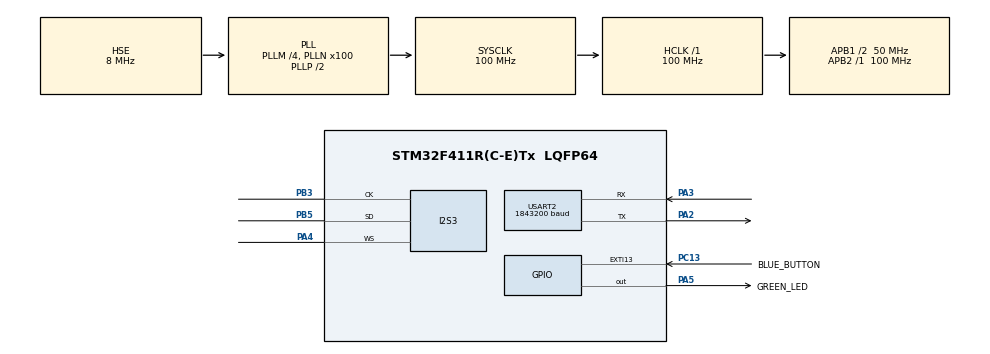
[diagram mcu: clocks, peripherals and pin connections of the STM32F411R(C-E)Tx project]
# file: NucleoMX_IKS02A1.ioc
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Dma.Request0=USART2_TX
Dma.Request1=SPI3_RX
Dma.SPI3_RX.1.Direction=DMA_PERIPH_TO_MEMORY
Dma.SPI3_RX.1.FIFOMode=DMA_FIFOMODE_DISABLE
Dma.SPI3_RX.1.Instance=DMA1_Stream0
Dma.SPI3_RX.1.MemDataAlignment=DMA_MDATAALIGN_HALFWORD
Dma.SPI3_RX.1.MemInc=DMA_MINC_ENABLE
Dma.SPI3_RX.1.Mode=DMA_CIRCULAR
Dma.SPI3_RX.1.PeriphDataAlignment=DMA_PDATAALIGN_HALFWORD
Dma.SPI3_RX.1.PeriphInc=DMA_PINC_DISABLE
Dma.SPI3_RX.1.Priority=DMA_PRIORITY_LOW
Dma.USART2_TX.0.Direction=DMA_MEMORY_TO_PERIPH
Dma.USART2_TX.0.FIFOMode=DMA_FIFOMODE_DISABLE
Dma.USART2_TX.0.Instance=DMA1_Stream6
Dma.USART2_TX.0.MemDataAlignment=DMA_MDATAALIGN_BYTE
Dma.USART2_TX.0.MemInc=DMA_MINC_ENABLE
Dma.USART2_TX.0.Mode=DMA_NORMAL
Dma.USART2_TX.0.PeriphDataAlignment=DMA_PDATAALIGN_BYTE
Dma.USART2_TX.0.PeriphInc=DMA_PINC_DISABLE
Dma.USART2_TX.0.Priority=DMA_PRIORITY_LOW
I2S3.AudioFreq=I2S_AUDIOFREQ_48K
I2S3.CPOL=I2S_CPOL_HIGH
I2S3.DataFormat=I2S_DATAFORMAT_24B
I2S3.ErrorAudioFreq=-0.79 %
I2S3.FullDuplexMode=I2S_FULLDUPLEXMODE_DISABLE
I2S3.Instance=SPI$Index
I2S3.Mode=I2S_MODE_MASTER_RX
I2S3.RealAudioFreq=47.619 KHz
I2S3.Standard=I2S_STANDARD_MSB
I2S3.VirtualMode=I2S_MODE_MASTER
Mcu.Family=STM32F4
Mcu.Name=STM32F411R(C-E)Tx
Mcu.Package=LQFP64
NVIC.DMA1_Stream0_IRQn=true\:0\:0\:false\:false\:true\:false\:true\:true
NVIC.DMA1_Stream6_IRQn=true\:0\:0\:false\:false\:true\:false\:true\:true
NVIC.EXTI15_10_IRQn=true\:0\:0\:false\:false\:true\:true\:true\:true
NVIC.PriorityGroup=NVIC_PRIORITYGROUP_2
NVIC.TIM1_UP_TIM10_IRQn=true\:3\:0\:false\:false\:true\:false\:true\:true
NVIC.TIM2_IRQn=true\:0\:0\:false\:false\:true\:true\:true\:true
NVIC.TimeBase=TIM1_UP_TIM10_IRQn
NVIC.TimeBaseIP=TIM1
NVIC.USART2_IRQn=true\:0\:0\:false\:false\:true\:true\:true\:true
PA13.GPIO_Label=TMS
PA13.Mode=Serial_Wire
PA13.Signal=SYS_JTMS-SWDIO
PA14.GPIO_Label=TCK
PA14.Mode=Serial_Wire
PA14.Signal=SYS_JTCK-SWCLK
PA2.GPIO_Speed=GPIO_SPEED_FREQ_VERY_HIGH
PA2.Mode=Asynchronous
PA2.Signal=USART2_TX
PA3.GPIO_Speed=GPIO_SPEED_FREQ_VERY_HIGH
PA3.Mode=Asynchronous
PA3.Signal=USART2_RX
PA4.Mode=Half_Duplex_Master
PA4.Signal=I2S3_WS
PA5.GPIO_Label=GREEN_LED
PA5.Signal=GPIO_Output
PB3.GPIO_PuPd=GPIO_PULLUP
PB3.GPIO_Speed=GPIO_SPEED_FREQ_VERY_HIGH
PB3.Mode=Half_Duplex_Master
PB3.Signal=I2S3_CK
PB5.GPIO_PuPd=GPIO_PULLUP
PB5.GPIO_Speed=GPIO_SPEED_FREQ_VERY_HIGH
PB5.Mode=Half_Duplex_Master
PB5.Signal=I2S3_SD
PC13-ANTI_TAMP.GPIO_Label=BLUE_BUTTON
PC13-ANTI_TAMP.Signal=GPXTI13
PC14-OSC32_IN.Mode=LSE-External-Oscillator
PC14-OSC32_IN.Signal=RCC_OSC32_IN
PC15-OSC32_OUT.Mode=LSE-External-Oscillator
PC15-OSC32_OUT.Signal=RCC_OSC32_OUT
PDM2PCM.CHANNEL1_bit_order=PDM_FILTER_BIT_ORDER_MSB
PDM2PCM.CHANNEL1_decimation_factor=PDM_FILTER_DEC_FACTOR_64
PDM2PCM.CHANNEL1_endianness=PDM_FILTER_ENDIANNESS_BE
PDM2PCM.CHANNEL1_high_pass_tap=2122358088
PDM2PCM.CHANNEL1_in_ptr_channels=1
PDM2PCM.CHANNEL1_mic_gain=24
PDM2PCM.CHANNEL1_out_ptr_channels=1
PDM2PCM.CHANNEL1_output_samples_number=16
PH0\ -\ OSC_IN.Mode=HSE-External-Clock-Source
PH0\ -\ OSC_IN.Signal=RCC_OSC_IN
PH1\ -\ OSC_OUT.Mode=HSE-External-Clock-Source
PH1\ -\ OSC_OUT.Signal=RCC_OSC_OUT
ProjectManager.HeapSize=0x200
ProjectManager.StackSize=0x400
ProjectManager.TargetToolchain=Makefile
RCC.48MHZClocksFreq_Value=50000000
RCC.AHBFreq_Value=100000000
RCC.APB1CLKDivider=RCC_HCLK_DIV2
RCC.APB1Freq_Value=50000000
RCC.APB1TimFreq_Value=100000000
RCC.APB2Freq_Value=100000000
RCC.APB2TimFreq_Value=100000000
RCC.CortexFreq_Value=100000000
RCC.EXTERNAL_CLOCK_VALUE=2000000
RCC.FLatency-AdvancedSettings=FLASH_LATENCY_3
RCC.HCLKFreq_Value=100000000
RCC.HSE_VALUE=8000000
RCC.HSI_VALUE=16000000
RCC.PLLI2SM=4
RCC.PLLM=4
RCC.PLLN=100
RCC.PLLSourceVirtual=RCC_PLLSOURCE_HSE
RCC.RCC_MCO1Source=RCC_MCO1SOURCE_HSE
RCC.RCC_MCODiv1=RCC_MCODIV_4
RCC.SYSCLKFreq_VALUE=100000000
RCC.SYSCLKSource=RCC_SYSCLKSOURCE_PLLCLK
RCC.VCOOutputFreq_Value=200000000
TIM2.AutoReloadPreload=TIM_AUTORELOAD_PRELOAD_ENABLE
TIM2.Period=1000-1
TIM2.Prescaler=1000-1
USART2.BaudRate=1843200
USART2.Mode=MODE_TX
USART2.Parity=PARITY_EVEN
USART2.StopBits=STOPBITS_2
USART2.VirtualMode=VM_ASYNC
USART2.WordLength=WORDLENGTH_9B
VP_CRC_VS_CRC.Mode=CRC_Activate
VP_PDM2PCM_VS_PDM2PCM.Mode=PDM2PCM_Channel
VP_SYS_VS_tim1.Mode=TIM1
VP_TIM2_VS_ClockSourceINT.Mode=Internal
board=NUCLEO-F411RE

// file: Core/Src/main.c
/* USER CODE BEGIN Header */
/**
  ******************************************************************************
  * @file           : main.c
  * @brief          : Main program body
  ******************************************************************************
  * @attention
  *
  * Copyright (c) 2024 STMicroelectronics.
  * All rights reserved.
  *
  * This software is licensed under terms that can be found in the LICENSE file
  * in the root directory of this software component.
  * If no LICENSE file comes with this software, it is provided AS-IS.
  *
  ******************************************************************************
  */
/* USER CODE END Header */
#include "main.h"
#include "pdm2pcm.h"

/* USER CODE BEGIN Includes */
#include "IKS02A1_Simulink.h"
/* USER CODE END Includes */

CRC_HandleTypeDef hcrc;

I2S_HandleTypeDef hi2s3;
DMA_HandleTypeDef hdma_spi3_rx;

TIM_HandleTypeDef htim2;

UART_HandleTypeDef huart2;
DMA_HandleTypeDef hdma_usart2_tx;

/* USER CODE BEGIN PV */
uint16_t pcm_buffer_len;
/* USER CODE END PV */

void SystemClock_Config(void);
/* USER CODE BEGIN PFP */
// #define PUTCHAR_PROTOTYPE int __io_putchar(int ch)
/* USER CODE END PFP */

/* USER CODE BEGIN 0 */
const uint8_t expectedHeader[3] = {'J', '_', 'A'};
const uint8_t expectedTerminator[3] = {'A', '_', 'J'};

uint8_t bigBuffer[28+3+3] = {0};
uint8_t clearToSend = 0;
uint8_t counter = 0;

/* Buffers */
#define PDM_BUFFER_SIZE 64
#define PCM_BUFFER_SIZE 16
uint32_t pdm_buffer[PDM_BUFFER_SIZE]; // Buffer for raw PDM data
uint16_t pcm_buffer[PCM_BUFFER_SIZE]; // Buffer for processed PCM data

void HAL_I2S_RxCpltCallback(I2S_HandleTypeDef *hi2s) {
    if (hi2s == &hi2s3) {
      HAL_GPIO_TogglePin(GREEN_LED_GPIO_Port,GREEN_LED_Pin);
      PDM_Filter((uint8_t *)pdm_buffer, (int16_t *)pcm_buffer, &PDM1_filter_handler);
      clearToSend = 1;
    }
}

/* Transmit PCM Data over USART */
void Transmit_PCM_Data(uint16_t *pcm_data, uint16_t size)
{
  HAL_UART_Transmit(&huart2, (uint8_t *)pcm_data, size * sizeof(uint16_t), HAL_MAX_DELAY);
}

/* USER CODE END 0 */

int main(void)
{

  /* MCU Configuration--------------------------------------------------------*/

  /* Reset of all peripherals, Initializes the Flash interface and the Systick. */
  HAL_Init();

  /* Configure the system clock */
  SystemClock_Config();

  /* USER CODE BEGIN SysInit */
  HAL_GPIO_WritePin(GREEN_LED_GPIO_Port,GREEN_LED_Pin,0);
  /* USER CODE END SysInit */

  /* Initialize all configured peripherals */
  MX_GPIO_Init();
  MX_DMA_Init();
  MX_TIM2_Init();
  MX_USART2_UART_Init();
  MX_CRC_Init();
  MX_PDM2PCM_Init();
  MX_I2S3_Init();

  /* Infinite loop */
  /* USER CODE BEGIN WHILE */
  HAL_I2S_Receive_DMA(&hi2s3, pdm_buffer, sizeof(pdm_buffer)/sizeof(pdm_buffer[0]));
  while (1)
  {
    if (clearToSend == 1){
      counter++;
      if (counter == 50){
        // startAudioPacket();
        counter = 0;
      }
      Transmit_PCM_Data(pcm_buffer, PCM_BUFFER_SIZE);
      clearToSend = 0;
    }

    /* USER CODE END WHILE */

  }
}

void SystemClock_Config(void)
{
  RCC_OscInitTypeDef RCC_OscInitStruct = {0};
  RCC_ClkInitTypeDef RCC_ClkInitStruct = {0};

  /** Configure the main internal regulator output voltage
  */
  __HAL_RCC_PWR_CLK_ENABLE();
  __HAL_PWR_VOLTAGESCALING_CONFIG(PWR_REGULATOR_VOLTAGE_SCALE1);

  /** Initializes the RCC Oscillators according to the specified parameters
  * in the RCC_OscInitTypeDef structure.
  */
  RCC_OscInitStruct.OscillatorType = RCC_OSCILLATORTYPE_HSE;
  RCC_OscInitStruct.HSEState = RCC_HSE_BYPASS;
  RCC_OscInitStruct.PLL.PLLState = RCC_PLL_ON;
  RCC_OscInitStruct.PLL.PLLSource = RCC_PLLSOURCE_HSE;
  RCC_OscInitStruct.PLL.PLLM = 4;
  RCC_OscInitStruct.PLL.PLLN = 100;
  RCC_OscInitStruct.PLL.PLLP = RCC_PLLP_DIV2;
  RCC_OscInitStruct.PLL.PLLQ = 4;
  if (HAL_RCC_OscConfig(&RCC_OscInitStruct) != HAL_OK)
  {
    Error_Handler();
  }

  /** Initializes the CPU, AHB and APB buses clocks
  */
  RCC_ClkInitStruct.ClockType = RCC_CLOCKTYPE_HCLK|RCC_CLOCKTYPE_SYSCLK
                              |RCC_CLOCKTYPE_PCLK1|RCC_CLOCKTYPE_PCLK2;
  RCC_ClkInitStruct.SYSCLKSource = RCC_SYSCLKSOURCE_PLLCLK;
  RCC_ClkInitStruct.AHBCLKDivider = RCC_SYSCLK_DIV1;
  RCC_ClkInitStruct.APB1CLKDivider = RCC_HCLK_DIV2;
  RCC_ClkInitStruct.APB2CLKDivider = RCC_HCLK_DIV1;

  if (HAL_RCC_ClockConfig(&RCC_ClkInitStruct, FLASH_LATENCY_3) != HAL_OK)
  {
    Error_Handler();
  }
}

void MX_CRC_Init(void)
{

  hcrc.Instance = CRC;
  if (HAL_CRC_Init(&hcrc) != HAL_OK)
  {
    Error_Handler();
  }
  __HAL_CRC_DR_RESET(&hcrc);

}

void MX_I2S3_Init(void)
{

  hi2s3.Instance = SPI3;
  hi2s3.Init.Mode = I2S_MODE_MASTER_RX;
  hi2s3.Init.Standard = I2S_STANDARD_PHILLIPS;
  hi2s3.Init.DataFormat = I2S_DATAFORMAT_24B;
  hi2s3.Init.MCLKOutput = I2S_MCLKOUTPUT_DISABLE;
  hi2s3.Init.AudioFreq = I2S_AUDIOFREQ_48K;
  hi2s3.Init.CPOL = I2S_CPOL_LOW;
  hi2s3.Init.ClockSource = I2S_CLOCK_PLL;
  hi2s3.Init.FullDuplexMode = I2S_FULLDUPLEXMODE_DISABLE;
  if (HAL_I2S_Init(&hi2s3) != HAL_OK)
  {
    Error_Handler();
  }

}

void MX_TIM2_Init(void)
{

  TIM_ClockConfigTypeDef sClockSourceConfig = {0};
  TIM_MasterConfigTypeDef sMasterConfig = {0};

  htim2.Instance = TIM2;
  htim2.Init.Prescaler = 1000-1;
  htim2.Init.CounterMode = TIM_COUNTERMODE_UP;
  htim2.Init.Period = 1000-1;
  htim2.Init.ClockDivision = TIM_CLOCKDIVISION_DIV1;
  htim2.Init.AutoReloadPreload = TIM_AUTORELOAD_PRELOAD_ENABLE;
  if (HAL_TIM_Base_Init(&htim2) != HAL_OK)
  {
    Error_Handler();
  }
  sClockSourceConfig.ClockSource = TIM_CLOCKSOURCE_INTERNAL;
  if (HAL_TIM_ConfigClockSource(&htim2, &sClockSourceConfig) != HAL_OK)
  {
    Error_Handler();
  }
  sMasterConfig.MasterOutputTrigger = TIM_TRGO_RESET;
  sMasterConfig.MasterSlaveMode = TIM_MASTERSLAVEMODE_DISABLE;
  if (HAL_TIMEx_MasterConfigSynchronization(&htim2, &sMasterConfig) != HAL_OK)
  {
    Error_Handler();
  }

}

void MX_USART2_UART_Init(void)
{

  huart2.Instance = USART2;
  huart2.Init.BaudRate = 1843200;
  huart2.Init.WordLength = UART_WORDLENGTH_9B;
  huart2.Init.StopBits = UART_STOPBITS_2;
  huart2.Init.Parity = UART_PARITY_EVEN;
  huart2.Init.Mode = UART_MODE_TX;
  huart2.Init.HwFlowCtl = UART_HWCONTROL_NONE;
  huart2.Init.OverSampling = UART_OVERSAMPLING_16;
  if (HAL_UART_Init(&huart2) != HAL_OK)
  {
    Error_Handler();
  }

}

void MX_DMA_Init(void)
{

  /* DMA controller clock enable */
  __HAL_RCC_DMA1_CLK_ENABLE();

  /* DMA interrupt init */
  /* DMA1_Stream0_IRQn interrupt configuration */
  HAL_NVIC_SetPriority(DMA1_Stream0_IRQn, 0, 0);
  HAL_NVIC_EnableIRQ(DMA1_Stream0_IRQn);
  /* DMA1_Stream6_IRQn interrupt configuration */
  HAL_NVIC_SetPriority(DMA1_Stream6_IRQn, 0, 0);
  HAL_NVIC_EnableIRQ(DMA1_Stream6_IRQn);

}

void MX_GPIO_Init(void)
{
  GPIO_InitTypeDef GPIO_InitStruct = {0};

  /* GPIO Ports Clock Enable */
  __HAL_RCC_GPIOC_CLK_ENABLE();
  __HAL_RCC_GPIOH_CLK_ENABLE();
  __HAL_RCC_GPIOA_CLK_ENABLE();
  __HAL_RCC_GPIOB_CLK_ENABLE();
  __HAL_RCC_GPIOD_CLK_ENABLE();

  /*Configure GPIO pin Output Level */
  HAL_GPIO_WritePin(GREEN_LED_GPIO_Port, GREEN_LED_Pin, GPIO_PIN_RESET);

  /*Configure GPIO pin : BLUE_BUTTON_Pin */
  GPIO_InitStruct.Pin = BLUE_BUTTON_Pin;
  GPIO_InitStruct.Mode = GPIO_MODE_IT_RISING;
  GPIO_InitStruct.Pull = GPIO_NOPULL;
  HAL_GPIO_Init(BLUE_BUTTON_GPIO_Port, &GPIO_InitStruct);

  /*Configure GPIO pins : PC0 PC1 PC2 PC3
                           PC4 PC5 PC6 PC7
                           PC8 PC9 PC10 PC11
                           PC12 */
  GPIO_InitStruct.Pin = GPIO_PIN_0|GPIO_PIN_1|GPIO_PIN_2|GPIO_PIN_3
                          |GPIO_PIN_4|GPIO_PIN_5|GPIO_PIN_6|GPIO_PIN_7
                          |GPIO_PIN_8|GPIO_PIN_9|GPIO_PIN_10|GPIO_PIN_11
                          |GPIO_PIN_12;
  GPIO_InitStruct.Mode = GPIO_MODE_ANALOG;
  GPIO_InitStruct.Pull = GPIO_NOPULL;
  HAL_GPIO_Init(GPIOC, &GPIO_InitStruct);

  /*Configure GPIO pins : PA0 PA1 PA6 PA7
                           PA8 PA9 PA10 PA11
                           PA12 PA15 */
  GPIO_InitStruct.Pin = GPIO_PIN_0|GPIO_PIN_1|GPIO_PIN_6|GPIO_PIN_7
                          |GPIO_PIN_8|GPIO_PIN_9|GPIO_PIN_10|GPIO_PIN_11
                          |GPIO_PIN_12|GPIO_PIN_15;
  GPIO_InitStruct.Mode = GPIO_MODE_ANALOG;
  GPIO_InitStruct.Pull = GPIO_NOPULL;
  HAL_GPIO_Init(GPIOA, &GPIO_InitStruct);

  /*Configure GPIO pin : GREEN_LED_Pin */
  GPIO_InitStruct.Pin = GREEN_LED_Pin;
  GPIO_InitStruct.Mode = GPIO_MODE_OUTPUT_PP;
  GPIO_InitStruct.Pull = GPIO_NOPULL;
  GPIO_InitStruct.Speed = GPIO_SPEED_FREQ_LOW;
  HAL_GPIO_Init(GREEN_LED_GPIO_Port, &GPIO_InitStruct);

  /*Configure GPIO pins : PB0 PB1 PB2 PB10
                           PB12 PB13 PB14 PB15
                           PB4 PB6 PB7 PB8
                           PB9 */
  GPIO_InitStruct.Pin = GPIO_PIN_0|GPIO_PIN_1|GPIO_PIN_2|GPIO_PIN_10
                          |GPIO_PIN_12|GPIO_PIN_13|GPIO_PIN_14|GPIO_PIN_15
                          |GPIO_PIN_4|GPIO_PIN_6|GPIO_PIN_7|GPIO_PIN_8
                          |GPIO_PIN_9;
  GPIO_InitStruct.Mode = GPIO_MODE_ANALOG;
  GPIO_InitStruct.Pull = GPIO_NOPULL;
  HAL_GPIO_Init(GPIOB, &GPIO_InitStruct);

  /*Configure GPIO pin : PD2 */
  GPIO_InitStruct.Pin = GPIO_PIN_2;
  GPIO_InitStruct.Mode = GPIO_MODE_ANALOG;
  GPIO_InitStruct.Pull = GPIO_NOPULL;
  HAL_GPIO_Init(GPIOD, &GPIO_InitStruct);

  /* EXTI interrupt init*/
  HAL_NVIC_SetPriority(EXTI15_10_IRQn, 0, 0);
  HAL_NVIC_EnableIRQ(EXTI15_10_IRQn);

}

void HAL_TIM_PeriodElapsedCallback(TIM_HandleTypeDef *htim)
{
  if (htim->Instance == TIM1) {
    HAL_IncTick();
  }
}

void Error_Handler(void)
{
  __disable_irq();
  while (1)
  {
  }
}
